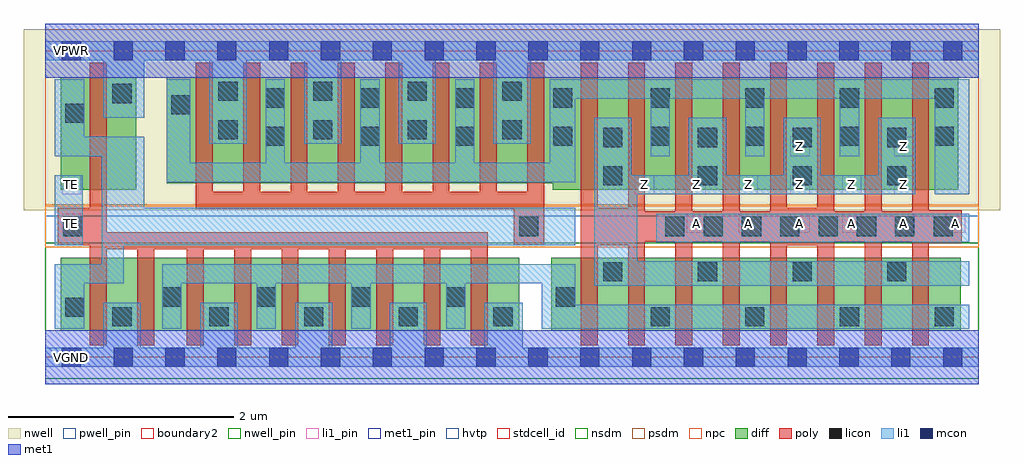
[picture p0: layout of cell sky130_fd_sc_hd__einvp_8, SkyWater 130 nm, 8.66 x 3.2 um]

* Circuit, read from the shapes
.subckt sky130_fd_sc_hd__einvp_8 A TE VGND VNB VPB VPWR Z
XM1 VGND TE n1 VNB sky130_fd_pr__nfet_01v8 w=0.65 l=0.15
XM2 n2 TE VGND VNB sky130_fd_pr__nfet_01v8 w=0.65 l=0.15 m=8
XM3 Z A n2 VNB sky130_fd_pr__nfet_01v8 w=0.65 l=0.15 m=8
XM4 VPWR TE n1 VPB sky130_fd_pr__pfet_01v8_hvt w=1 l=0.15
XM5 VPWR n1 n3 VPB sky130_fd_pr__pfet_01v8_hvt w=0.94 l=0.15 m=8
XM6 Z A n3 VPB sky130_fd_pr__pfet_01v8_hvt w=1 l=0.15 m=8
.ends

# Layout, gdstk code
import gdstk
lib = gdstk.Library(unit=1e-6, precision=1e-09)
def R(c, l, rs):  # rectangles x0, y0, x1, y1
    for r in rs: c.add(gdstk.rectangle(r[:2], r[2:], *l))
def A(c, l, x, y, w, h, nx, ny, dx, dy):  # array of equal rectangles
    R(c, l, [(x+i*dx, y+j*dy, x+i*dx+w, y+j*dy+h) for i in range(nx) for j in range(ny)])
def P(c, l, *ps):  # polygons
    for p in ps: c.add(gdstk.Polygon(p, *l))
nwell_pin = (64, 16)
nwell = (64, 20)
diff = (65, 20)
poly = (66, 20)
licon = (66, 44)
li1_pin = (67, 16)
li1 = (67, 20)
mcon = (67, 44)
met1_pin = (68, 16)
met1 = (68, 20)
hvtp = (78, 44)
stdcell_id = (81, 4)
nsdm = (93, 44)
psdm = (94, 20)
npc = (95, 20)
pwell_pin = (122, 16)
boundary2 = (236, 0)

sky130_fd_sc_hd__einvp_8 = lib.new_cell('sky130_fd_sc_hd__einvp_8')
R(sky130_fd_sc_hd__einvp_8, nwell_pin, [(0.15,2.635,0.32,2.805)])
R(sky130_fd_sc_hd__einvp_8, nwell, [(-0.19,1.305,8.47,2.91)])
R(sky130_fd_sc_hd__einvp_8, diff, [(0.135,0.235,4.205,0.885), (4.49,0.235,8.12,0.885), (0.135,1.485,0.805,2.485)])
P(sky130_fd_sc_hd__einvp_8, diff, [(8.1,2.485),(1.075,2.485),(1.075,1.545),(4.5,1.545),(4.5,1.485),(8.1,1.485)])
R(sky130_fd_sc_hd__einvp_8, poly, [(7.84,1.015,8.13,1.025), (7.84,1.295,8.13,1.305)])
P(sky130_fd_sc_hd__einvp_8, poly, [(4.425,2.615),(4.275,2.615),(4.275,1.47),(4.005,1.47),(4.005,2.615),(3.855,2.615),(3.855,1.47),(3.585,1.47),(3.585,2.615),(3.435,2.615),(3.435,1.47),(3.165,1.47),(3.165,2.615),(3.015,2.615),(3.015,1.47),(2.745,1.47),(2.745,2.615),(2.595,2.615),(2.595,1.47),(2.325,1.47),(2.325,2.615),(2.175,2.615),(2.175,1.47),(1.905,1.47),(1.905,2.615),(1.755,2.615),(1.755,1.47),(1.485,1.47),(1.485,2.615),(1.335,2.615),(1.335,1.32),(4.155,1.32),(4.155,0.995),(4.425,0.995)],
  [(8.13,1.295),(7.84,1.295),(7.84,2.615),(7.69,2.615),(7.69,1.295),(7.42,1.295),(7.42,2.615),(7.27,2.615),(7.27,1.295),(7,1.295),(7,2.615),(6.85,2.615),(6.85,1.325),(6.58,1.325),(6.58,2.615),(6.43,2.615),(6.43,1.295),(6.16,1.295),(6.16,2.615),(6.01,2.615),(6.01,1.295),(5.74,1.295),(5.74,2.615),(5.59,2.615),(5.59,1.295),(5.32,1.295),(5.32,2.615),(5.17,2.615),(5.17,1.325),(4.9,1.325),(4.9,2.615),(4.75,2.615),(4.75,0.105),(4.9,0.105),(4.9,0.995),(5.17,0.995),(5.17,0.105),(5.32,0.105),(5.32,1.025),(5.59,1.025),(5.59,0.105),(5.74,0.105),(5.74,1.025),(6.01,1.025),(6.01,0.105),(6.16,0.105),(6.16,1.025),(6.43,1.025),(6.43,0.105),(6.58,0.105),(6.58,0.995),(6.85,0.995),(6.85,0.105),(7,0.105),(7,1.025),(7.27,1.025),(7.27,0.105),(7.42,0.105),(7.42,1.025),(7.69,1.025),(7.69,0.105),(7.84,0.105),(7.84,1.025),(8.13,1.025)],
  [(3.925,1.11),(0.545,1.11),(0.545,2.615),(0.395,2.615),(0.395,1.325),(0.11,1.325),(0.11,0.995),(0.395,0.995),(0.395,0.105),(0.545,0.105),(0.545,0.96),(0.815,0.96),(0.815,0.105),(0.965,0.105),(0.965,0.96),(1.255,0.96),(1.255,0.105),(1.405,0.105),(1.405,0.96),(1.675,0.96),(1.675,0.105),(1.825,0.105),(1.825,0.96),(2.095,0.96),(2.095,0.105),(2.245,0.105),(2.245,0.96),(2.515,0.96),(2.515,0.105),(2.665,0.105),(2.665,0.96),(2.935,0.96),(2.935,0.105),(3.085,0.105),(3.085,0.96),(3.355,0.96),(3.355,0.105),(3.505,0.105),(3.505,0.96),(3.775,0.96),(3.775,0.105),(3.925,0.105)])
A(sky130_fd_sc_hd__einvp_8, licon, 1.455, 0.275, 0.17, 0.17, 4, 1, 0.84, 0)
A(sky130_fd_sc_hd__einvp_8, licon, 5.37, 0.275, 0.17, 0.17, 4, 2, 0.84, 1.6)
A(sky130_fd_sc_hd__einvp_8, licon, 1.035, 0.45, 0.17, 0.17, 4, 1, 0.84, 0)
A(sky130_fd_sc_hd__einvp_8, licon, 4.95, 0.675, 0.17, 0.17, 4, 2, 0.84, 0.85)
A(sky130_fd_sc_hd__einvp_8, licon, 5.5, 1.075, 0.17, 0.17, 8, 1, 0.34, 0)
A(sky130_fd_sc_hd__einvp_8, licon, 4.95, 1.865, 0.17, 0.17, 4, 1, 0.84, 0)
A(sky130_fd_sc_hd__einvp_8, licon, 1.955, 1.875, 0.17, 0.17, 3, 2, 0.84, 0.34)
A(sky130_fd_sc_hd__einvp_8, licon, 1.535, 1.935, 0.17, 0.17, 4, 2, 0.84, 0.34)
A(sky130_fd_sc_hd__einvp_8, licon, 5.37, 2.215, 0.17, 0.17, 4, 1, 0.84, 0)
R(sky130_fd_sc_hd__einvp_8, licon, [(0.595,0.275,0.765,0.445), (0.175,0.36,0.345,0.53), (4.53,0.45,4.7,0.62), (0.16,1.075,0.33,1.245), (4.205,1.075,4.375,1.245), (4.505,1.875,4.675,2.045), (0.175,2.08,0.345,2.25), (1.115,2.155,1.285,2.325), (4.505,2.215,4.675,2.385), (0.595,2.255,0.765,2.425)])
A(sky130_fd_sc_hd__einvp_8, li1_pin, 5.69, 1.105, 0.17, 0.17, 6, 1, 0.46, 0)
A(sky130_fd_sc_hd__einvp_8, li1_pin, 5.23, 1.445, 0.17, 0.17, 6, 1, 0.46, 0)
R(sky130_fd_sc_hd__einvp_8, li1_pin, [(0.15,1.105,0.32,1.275), (0.15,1.445,0.32,1.615), (6.61,1.785,6.78,1.955), (7.53,1.785,7.7,1.955)])
R(sky130_fd_sc_hd__einvp_8, li1, [(0.085,0.995,0.33,1.615), (5.42,1.02,8.195,1.275)])
P(sky130_fd_sc_hd__einvp_8, li1, [(8.195,0.85),(5.25,0.85),(5.25,1.445),(7.72,1.445),(7.72,2.125),(7.39,2.125),(7.39,1.615),(6.88,1.615),(6.88,2.125),(6.55,2.125),(6.55,1.615),(6.04,1.615),(6.04,2.125),(5.71,2.125),(5.71,1.615),(5.2,1.615),(5.2,2.125),(4.87,2.125),(4.87,0.635),(8.195,0.635)],
  [(8.195,0.465),(4.7,0.465),(4.7,0.825),(1.035,0.825),(1.035,0.255),(1.205,0.255),(1.205,0.655),(1.875,0.655),(1.875,0.255),(2.045,0.255),(2.045,0.655),(2.715,0.655),(2.715,0.255),(2.885,0.255),(2.885,0.655),(3.555,0.655),(3.555,0.255),(3.725,0.255),(3.725,0.655),(4.405,0.655),(4.405,0.255),(8.195,0.255)],
  [(8.28,2.805),(0,2.805),(0,2.635),(0.515,2.635),(0.515,2.125),(0.875,2.125),(0.875,2.635),(1.455,2.635),(1.455,1.895),(1.785,1.895),(1.785,2.635),(2.295,2.635),(2.295,1.895),(2.625,1.895),(2.625,2.635),(3.135,2.635),(3.135,1.895),(3.465,1.895),(3.465,2.635),(3.975,2.635),(3.975,1.895),(4.305,1.895),(4.305,2.635),(8.28,2.635)],
  [(8.28,0.085),(4.235,0.085),(4.235,0.485),(3.895,0.485),(3.895,0.085),(3.385,0.085),(3.385,0.485),(3.055,0.485),(3.055,0.085),(2.545,0.085),(2.545,0.485),(2.215,0.485),(2.215,0.085),(1.705,0.085),(1.705,0.485),(1.375,0.485),(1.375,0.085),(0.845,0.085),(0.845,0.485),(0.515,0.485),(0.515,0.085),(0,0.085),(0,-0.085),(8.28,-0.085)],
  [(8.195,2.465),(4.475,2.465),(4.475,1.725),(3.805,1.725),(3.805,2.465),(3.635,2.465),(3.635,1.725),(2.965,1.725),(2.965,2.465),(2.795,2.465),(2.795,1.725),(2.125,1.725),(2.125,2.465),(1.955,2.465),(1.955,1.725),(1.285,1.725),(1.285,2.465),(1.075,2.465),(1.075,1.555),(4.7,1.555),(4.7,2.295),(5.37,2.295),(5.37,1.785),(5.54,1.785),(5.54,2.295),(6.21,2.295),(6.21,1.785),(6.38,1.785),(6.38,2.295),(7.05,2.295),(7.05,1.785),(7.22,1.785),(7.22,2.295),(7.89,2.295),(7.89,1.445),(8.195,1.445)],
  [(4.7,1.325),(0.875,1.325),(0.875,1.955),(0.345,1.955),(0.345,2.465),(0.085,2.465),(0.085,1.785),(0.5,1.785),(0.5,0.825),(0.085,0.825),(0.085,0.255),(0.345,0.255),(0.345,0.655),(0.695,0.655),(0.695,0.995),(4.7,0.995)])
A(sky130_fd_sc_hd__einvp_8, mcon, 0.145, -0.085, 0.17, 0.17, 18, 2, 0.46, 2.72)
R(sky130_fd_sc_hd__einvp_8, met1_pin, [(0.15,-0.085,0.32,0.085), (0.15,2.635,0.32,2.805)])
R(sky130_fd_sc_hd__einvp_8, hvtp, [(0,1.25,8.28,2.72)])
R(sky130_fd_sc_hd__einvp_8, stdcell_id, [(0,0,8.28,2.72)])
R(sky130_fd_sc_hd__einvp_8, nsdm, [(0,-0.19,8.28,1.015)])
R(sky130_fd_sc_hd__einvp_8, psdm, [(0,1.355,8.28,2.91)])
R(sky130_fd_sc_hd__einvp_8, npc, [(0,0.975,8.28,1.345)])
R(sky130_fd_sc_hd__einvp_8, pwell_pin, [(0.15,-0.085,0.32,0.085)])
R(sky130_fd_sc_hd__einvp_8, boundary2, [(0,0,8.28,2.72)])
sky130_fd_sc_hd__einvp_8.add(gdstk.FlexPath([(0,0),(8.28,0)], 0.48, ends="flush", simple_path=True, layer=68, datatype=20))  # met1
sky130_fd_sc_hd__einvp_8.add(gdstk.FlexPath([(0,2.72),(8.28,2.72)], 0.48, ends="flush", simple_path=True, layer=68, datatype=20))  # met1
sky130_fd_sc_hd__einvp_8.add(gdstk.Label('A', (6.695,1.19), layer=67, texttype=5))
sky130_fd_sc_hd__einvp_8.add(gdstk.Label('A', (6.235,1.19), layer=67, texttype=5))
sky130_fd_sc_hd__einvp_8.add(gdstk.Label('A', (5.775,1.19), layer=67, texttype=5))
sky130_fd_sc_hd__einvp_8.add(gdstk.Label('A', (8.075,1.19), layer=67, texttype=5))
sky130_fd_sc_hd__einvp_8.add(gdstk.Label('A', (7.615,1.19), layer=67, texttype=5))
sky130_fd_sc_hd__einvp_8.add(gdstk.Label('A', (7.155,1.19), layer=67, texttype=5))
sky130_fd_sc_hd__einvp_8.add(gdstk.Label('Z', (6.695,1.87), layer=67, texttype=5))
sky130_fd_sc_hd__einvp_8.add(gdstk.Label('Z', (7.615,1.87), layer=67, texttype=5))
sky130_fd_sc_hd__einvp_8.add(gdstk.Label('Z', (7.615,1.53), layer=67, texttype=5))
sky130_fd_sc_hd__einvp_8.add(gdstk.Label('Z', (7.155,1.53), layer=67, texttype=5))
sky130_fd_sc_hd__einvp_8.add(gdstk.Label('TE', (0.235,1.19), layer=67, texttype=5))
sky130_fd_sc_hd__einvp_8.add(gdstk.Label('TE', (0.235,1.53), layer=67, texttype=5))
sky130_fd_sc_hd__einvp_8.add(gdstk.Label('Z', (5.775,1.53), layer=67, texttype=5))
sky130_fd_sc_hd__einvp_8.add(gdstk.Label('Z', (5.315,1.53), layer=67, texttype=5))
sky130_fd_sc_hd__einvp_8.add(gdstk.Label('Z', (6.695,1.53), layer=67, texttype=5))
sky130_fd_sc_hd__einvp_8.add(gdstk.Label('Z', (6.235,1.53), layer=67, texttype=5))
sky130_fd_sc_hd__einvp_8.add(gdstk.Label('VPWR', (0.23,2.72), layer=68, texttype=5))
sky130_fd_sc_hd__einvp_8.add(gdstk.Label('VGND', (0.23,0), layer=68, texttype=5))
sky130_fd_sc_hd__einvp_8.add(gdstk.Label('VPB', (0.23,2.72), layer=64, texttype=5))
sky130_fd_sc_hd__einvp_8.add(gdstk.Label('VNB', (0.23,0), layer=64, texttype=59))
sky130_fd_sc_hd__einvp_8.add(gdstk.Label('einvp_8', (0,0), layer=83, texttype=44))

lib.write_gds('sky130_fd_sc_hd__einvp_8.gds')
